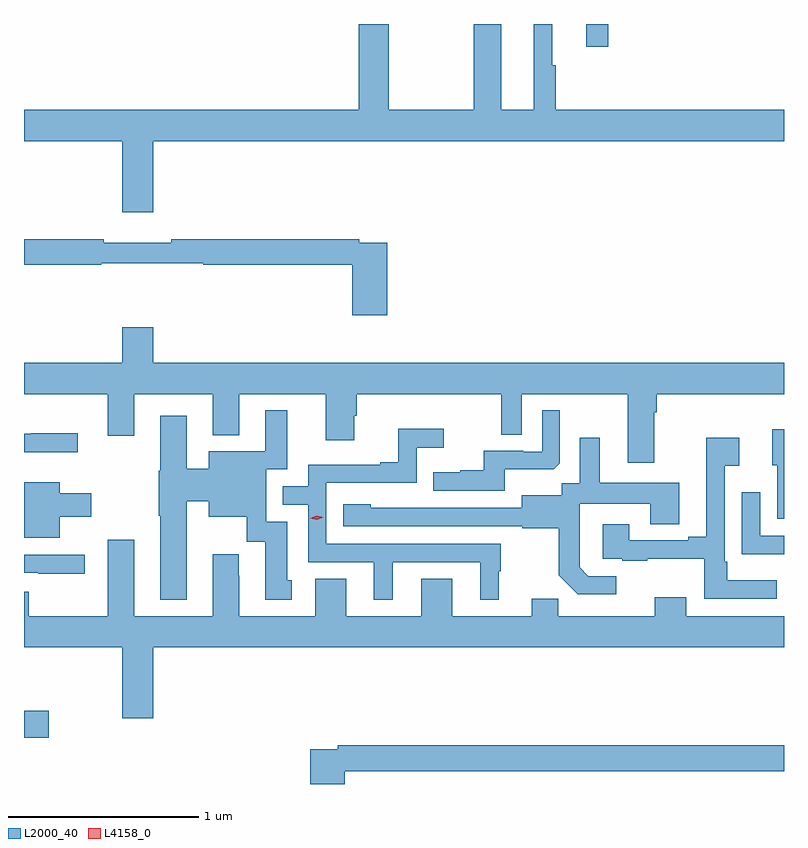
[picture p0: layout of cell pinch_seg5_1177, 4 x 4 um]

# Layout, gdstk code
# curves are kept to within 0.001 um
import gdstk
lib = gdstk.Library(unit=1e-6, precision=1e-09)
def R(c, l, rs):  # rectangles x0, y0, x1, y1
    for r in rs: c.add(gdstk.rectangle(r[:2], r[2:], *l))
def P(c, l, *ps):  # polygons
    for p in ps: c.add(gdstk.Polygon(p, *l))
L2000_40 = (2000, 40)
L4158_0 = (4158, 0)

pinch_seg5_1177 = lib.new_cell('pinch_seg5_1177')
R(pinch_seg5_1177, L2000_40, [(560.096,881.591,560.227,881.733), (563.054,885.228,563.171,885.348)])
P(pinch_seg5_1177, L2000_40, [(560.096,884.732),(560.612,884.732),(560.612,884.358),(560.776,884.358),(560.776,884.732),(564.096,884.732),(564.096,884.896),(562.895,884.896),(562.895,885.132),(562.877,885.132),(562.877,885.348),(562.778,885.348),(562.778,884.896),(562.609,884.896),(562.609,885.348),(562.462,885.348),(562.462,884.896),(562.017,884.896),(562.017,885.348),(561.857,885.348),(561.857,884.896),(560.096,884.896)],
  [(562.007,884.196),(561.86,884.196),(561.86,884.216),(560.872,884.216),(560.872,884.197),(560.516,884.197),(560.516,884.216),(560.096,884.216),(560.096,884.08),(560.502,884.08),(560.502,884.088),(561.04,884.088),(561.04,884.08),(561.824,884.08),(561.824,883.815),(562.007,883.815)],
  [(560.776,883.753),(560.612,883.753),(560.612,883.564),(560.096,883.564),(560.096,883.4),(560.537,883.4),(560.537,883.182),(560.677,883.182),(560.677,883.4),(561.089,883.4),(561.089,883.184),(561.229,883.184),(561.229,883.4),(561.683,883.4),(561.683,883.158),(561.835,883.158),(561.835,883.287),(561.848,883.287),(561.848,883.4),(562.608,883.4),(562.608,883.186),(562.716,883.186),(562.716,883.4),(563.273,883.4),(563.273,883.038),(563.413,883.038),(563.413,883.304),(563.426,883.304),(563.426,883.4),(564.096,883.4),(564.096,883.564),(560.776,883.564)],
  [(562.627,883.004),(562.885,883.004),(562.917,883.035),(562.917,883.315),(562.824,883.315),(562.824,883.098),(562.724,883.098),(562.724,883.101),(562.517,883.101),(562.517,883),(562.393,883),(562.393,882.988),(562.249,882.988),(562.249,882.891),(562.627,882.891)],
  [(560.953,882.836),(561.068,882.836),(561.068,882.755),(561.269,882.755),(561.269,882.624),(561.365,882.624),(561.365,882.318),(561.505,882.318),(561.505,882.42),(561.481,882.42),(561.481,882.729),(561.372,882.729),(561.372,883.005),(561.481,883.005),(561.481,883.315),(561.365,883.315),(561.365,883.099),(561.068,883.099),(561.068,883.008),(560.953,883.008),(560.953,883.285),(560.813,883.285),(560.813,882.996),(560.806,882.996),(560.806,882.759),(560.813,882.759),(560.813,882.317),(560.953,882.317)],
  [(562.036,882.516),(562.496,882.516),(562.496,882.317),(562.594,882.317),(562.594,882.468),(562.606,882.468),(562.606,882.612),(561.687,882.612),(561.687,882.933),(562.164,882.933),(562.164,883.118),(562.306,883.118),(562.306,883.217),(562.066,883.217),(562.066,883.042),(561.971,883.042),(561.971,883.029),(561.591,883.029),(561.591,882.915),(561.458,882.915),(561.458,882.819),(561.591,882.819),(561.591,882.516),(561.938,882.516),(561.938,882.317),(562.036,882.317)],
  [(564.096,883.214),(564.035,883.214),(564.035,883.026),(564.06,883.026),(564.06,882.744),(564.096,882.744)],
  [(560.38,883.195),(560.135,883.195),(560.135,883.191),(560.096,883.191),(560.096,883.094),(560.38,883.094)],
  [(563.212,882.441),(563.067,882.441),(563.02,882.488),(563.02,882.583),(563.022,882.583),(563.022,882.824),(563.393,882.824),(563.393,882.715),(563.545,882.715),(563.545,882.934),(563.125,882.934),(563.125,883.171),(563.021,883.171),(563.021,882.932),(562.926,882.932),(562.926,882.868),(562.715,882.868),(562.715,882.801),(561.921,882.802),(561.921,882.82),(561.777,882.82),(561.777,882.705),(562.719,882.705),(562.719,882.693),(562.911,882.693),(562.911,882.447),(563.011,882.347),(563.212,882.347)],
  [(564.058,882.421),(563.797,882.421),(563.797,882.517),(563.784,882.517),(563.784,883.022),(563.86,883.022),(563.86,883.171),(563.687,883.171),(563.687,882.649),(563.591,882.649),(563.591,882.63),(563.281,882.63),(563.281,882.715),(563.141,882.715),(563.141,882.534),(563.245,882.534),(563.245,882.522),(563.377,882.522),(563.377,882.533),(563.676,882.533),(563.676,882.324),(564.058,882.324)],
  [(560.284,882.755),(560.449,882.755),(560.449,882.877),(560.284,882.877),(560.284,882.937),(560.096,882.937),(560.096,882.644),(560.284,882.644)],
  [(564.096,882.654),(563.97,882.654),(563.97,882.883),(563.874,882.883),(563.874,882.557),(564.096,882.557)],
  [(560.677,882.634),(560.537,882.634),(560.537,882.232),(560.121,882.232),(560.121,882.361),(560.096,882.361),(560.096,882.068),(560.612,882.068),(560.612,881.694),(560.776,881.694),(560.776,882.068),(564.096,882.068),(564.096,882.232),(563.581,882.232),(563.581,882.331),(563.417,882.331),(563.417,882.232),(562.907,882.232),(562.907,882.323),(562.769,882.323),(562.769,882.232),(562.351,882.232),(562.351,882.427),(562.187,882.427),(562.187,882.232),(561.793,882.232),(561.793,882.427),(561.629,882.427),(561.629,882.232),(561.229,882.232),(561.229,882.443),(561.226,882.443),(561.226,882.556),(561.089,882.556),(561.089,882.232),(560.677,882.232)],
  [(560.416,882.555),(560.096,882.555),(560.096,882.459),(560.171,882.459),(560.171,882.455),(560.416,882.455)],
  [(561.785,881.416),(564.096,881.416),(564.096,881.552),(561.748,881.552),(561.748,881.532),(561.602,881.532),(561.602,881.348),(561.785,881.348)])
P(pinch_seg5_1177, L4158_0, [(561.638,882.74),(561.602,882.747),(561.602,882.747),(561.602,882.747),(561.636,882.76),(561.671,882.752),(561.672,882.752),(561.671,882.752)])

lib.write_gds('pinch_seg5_1177.gds')
